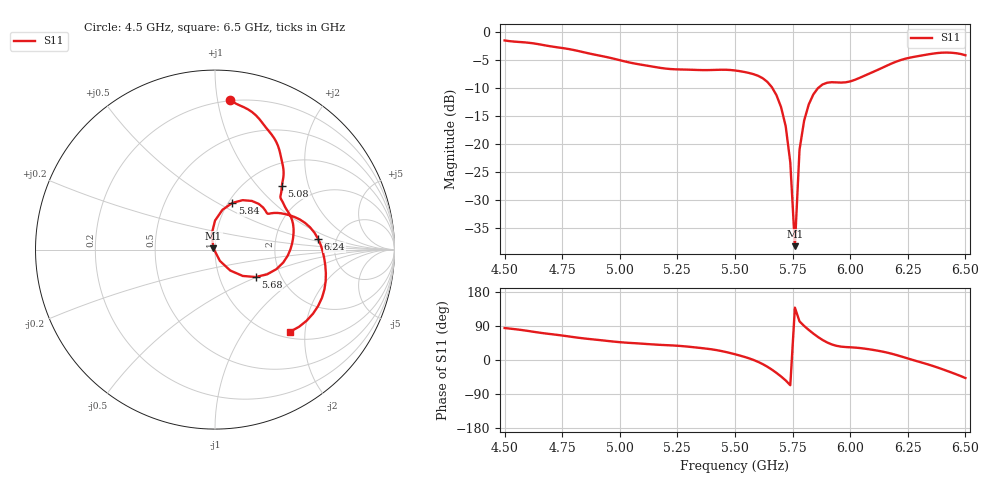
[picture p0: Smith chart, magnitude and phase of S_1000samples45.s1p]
! TOUCHSTONE file generated by CST MICROWAVE STUDIO
! Date and time: Wed Oct 26 19:35:21 2022
! Project name: L.cst
! Parameters = {Di=1.27; Epsilon_r=1.56; InnerDiameter=1.27; Length=2; Lf=10; Lg=60; OuterConductorThickness=0.2921; OuterDiameter=3.6; Wf=3; Wp=41.2; de=1.5; df=6.8; g=0.8; gx=0.878311; gy=3.93267; h=2.34; hf=1.524; px=11.6112; py=12.3308; w=9.7; wx=10.7328; wy=8.39815}
! Header version: 2018
! Port assignment regex: !\s*Touchstone port\s*([0-9]+)\s*=\s*(CST MWS port|CST DS port)\s*([0-9]+|Zmin|Zmax)\s*\(\"(.*)\"\)(\s*mode\s*([0-9]+))?.*
! Touchstone port assignment:
! Touchstone port 1 = CST MWS port 1 ("")
# GHz S DB R 50
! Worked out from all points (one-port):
!   101 points, 4.5 GHz to 6.5 GHz, reference 50 ohm
!   lowest |S11| = -38.2 dB at 5.76 GHz (marker M1), VSWR 1.02, Z = 49.1 + j0.804 ohm
!   |S11| at or under -10 dB: 5.662 GHz to 5.861 GHz (198.6 MHz wide, 3.45 % of centre)
!   S11 on the Smith chart (normalised r, x): 4.5 GHz: 0.19, +1.08; 5.08 GHz: 1.41, +1.37; 5.68 GHz: 1.49, -0.49; 5.84 GHz: 1.04, +0.59; 6.24 GHz: 3.61, +0.65; 6.5 GHz: 1.13, -1.67
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4.5  -1.52 84.4
4.76  -2.92 63.8
5  -5.04 47.0
5.08  -5.75 43.7
5.26  -6.69 37.2
5.42  -6.76 26.1
5.5  -6.87 15.2
5.6  -7.82 -4.8
5.64  -8.89 -17.6
5.68  -11.28 -34.0
5.7  -13.42 -43.5
5.72  -16.81 -53.9
5.74  -23.27 -66.6
5.76  -38.23 138.1
5.78  -21.02 101.9
5.8  -15.83 90.0
5.82  -12.94 79.4
5.84  -11.15 69.7
5.86  -10.02 60.8
5.9  -9.06 46.3
6  -8.82 33.5
6.14  -6.38 22.2
6.24  -4.77 5.9
6.26  -4.58 2.2
6.34  -3.99 -12.1
6.4  -3.69 -24.3
6.46  -3.79 -37.7
6.5  -4.15 -47.5
